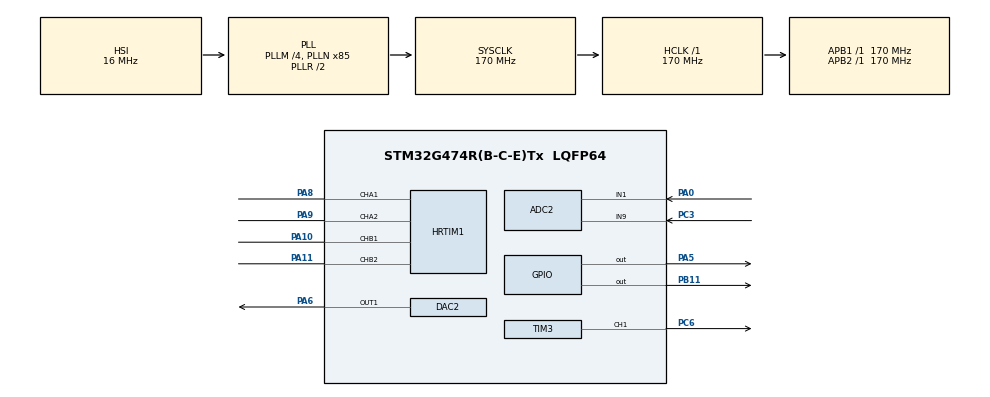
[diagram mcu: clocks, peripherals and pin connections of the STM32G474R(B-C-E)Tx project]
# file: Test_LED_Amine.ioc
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ADC2.Channel-3\#ChannelRegularConversion=ADC_CHANNEL_1
ADC2.ClockPrescaler=ADC_CLOCK_ASYNC_DIV4
ADC2.DMAContinuousRequests=ENABLE
ADC2.DiscontinuousConvMode=DISABLE
ADC2.EnableRegularConversion=ENABLE
ADC2.ExternalTrigConv=ADC_EXTERNALTRIG_HRTIM_TRG1
ADC2.ExternalTrigConvEdge=ADC_EXTERNALTRIGCONVEDGE_RISING
ADC2.NbrOfConversion=1
ADC2.NbrOfConversionFlag=1
ADC2.OffsetNumber-3\#ChannelRegularConversion=ADC_OFFSET_NONE
ADC2.Rank-3\#ChannelRegularConversion=1
ADC2.SamplingTime-3\#ChannelRegularConversion=ADC_SAMPLETIME_24CYCLES_5
Dma.ADC2.0.Direction=DMA_PERIPH_TO_MEMORY
Dma.ADC2.0.EventEnable=DISABLE
Dma.ADC2.0.Instance=DMA2_Channel1
Dma.ADC2.0.MemDataAlignment=DMA_MDATAALIGN_HALFWORD
Dma.ADC2.0.MemInc=DMA_MINC_ENABLE
Dma.ADC2.0.Mode=DMA_CIRCULAR
Dma.ADC2.0.PeriphDataAlignment=DMA_PDATAALIGN_HALFWORD
Dma.ADC2.0.PeriphInc=DMA_PINC_DISABLE
Dma.ADC2.0.Polarity=HAL_DMAMUX_REQ_GEN_RISING
Dma.ADC2.0.Priority=DMA_PRIORITY_LOW
Dma.ADC2.0.RequestNumber=1
Dma.ADC2.0.SignalID=NONE
Dma.ADC2.0.SyncEnable=DISABLE
Dma.ADC2.0.SyncPolarity=HAL_DMAMUX_SYNC_NO_EVENT
Dma.ADC2.0.SyncRequestNumber=1
Dma.ADC2.0.SyncSignalID=NONE
Dma.Request0=ADC2
HRTIM1.ADCTrigger1_Source1=HRTIM_ADCTRIGGEREVENT13_MASTER_CMP3
HRTIM1.ADCTrigger_Id1=HRTIM_ADCTRIGGER_1
HRTIM1.ADCTrigger_Id2=__NULL
HRTIM1.ADCTrigger_Id3=__NULL
HRTIM1.CompareUnit1-MasterTimer=HRTIM_COMPAREUNIT_1
HRTIM1.CompareUnit1-Output_TA1TA2=HRTIM_COMPAREUNIT_1
HRTIM1.CompareUnit1-Output_TB1TB2=HRTIM_COMPAREUNIT_1
HRTIM1.CompareUnit2-MasterTimer=HRTIM_COMPAREUNIT_2
HRTIM1.CompareUnit3-MasterTimer=HRTIM_COMPAREUNIT_3
HRTIM1.CompareValue1-MasterTimer=1360
HRTIM1.CompareValue1-Output_TA1TA2=6800
HRTIM1.CompareValue1-Output_TB1TB2=6800
HRTIM1.CompareValue2-MasterTimer=6800
HRTIM1.CompareValue3-MasterTimer=3000
HRTIM1.DeadTimeInsertion-Output_TA1TA2=HRTIM_TIMDEADTIMEINSERTION_ENABLED
HRTIM1.DeadTimeInsertion-Output_TB1TB2=HRTIM_TIMDEADTIMEINSERTION_ENABLED
HRTIM1.Enable=HRTIM_BURSTMODECTL_DISABLED
HRTIM1.Event_EEV1=__NULL
HRTIM1.FallingValue-Output_TA1TA2=16
HRTIM1.FallingValue-Output_TB1TB2=16
HRTIM1.NumberADCTriggerSource1=1
HRTIM1.NumberResetSource1-Output_TA1TA2=1
HRTIM1.NumberResetSource1-Output_TB1TB2=1
HRTIM1.NumberResetTrigger-Output_TA1TA2=1
HRTIM1.NumberResetTrigger-Output_TB1TB2=1
HRTIM1.NumberSetSource1-Output_TA1TA2=1
HRTIM1.NumberSetSource1-Output_TB1TB2=1
HRTIM1.Periode_MASTER=13600
HRTIM1.Periode_TA=13600
HRTIM1.Periode_TB=13600
HRTIM1.PrescalerDead-Output_TA1TA2=HRTIM_TIMDEADTIME_PRESCALERRATIO_DIV1
HRTIM1.PrescalerDead-Output_TB1TB2=HRTIM_TIMDEADTIME_PRESCALERRATIO_DIV1
HRTIM1.PrescalerRatio_MASTER=HRTIM_PRESCALERRATIO_MUL16
HRTIM1.PrescalerRatio_TA=HRTIM_PRESCALERRATIO_MUL16
HRTIM1.PrescalerRatio_TB=HRTIM_PRESCALERRATIO_MUL16
HRTIM1.ResetOutput1_Source1-Output_TA1TA2=HRTIM_OUTPUTRESET_TIMCMP1
HRTIM1.ResetOutput1_Source1-Output_TB1TB2=HRTIM_OUTPUTRESET_TIMCMP1
HRTIM1.ResetTrigger1-Output_TA1TA2=HRTIM_TIMRESETTRIGGER_MASTER_PER
HRTIM1.ResetTrigger1-Output_TB1TB2=HRTIM_TIMRESETTRIGGER_MASTER_CMP2
HRTIM1.RisingValue-Output_TA1TA2=16
HRTIM1.RisingValue-Output_TB1TB2=16
HRTIM1.SetOutput1_Source1-Output_TA1TA2=HRTIM_OUTPUTSET_TIMPER
HRTIM1.SetOutput1_Source1-Output_TB1TB2=HRTIM_OUTPUTSET_TIMPER
HRTIM1.postscaler1=0
Mcu.Family=STM32G4
Mcu.Name=STM32G474R(B-C-E)Tx
Mcu.Package=LQFP64
NVIC.ADC1_2_IRQn=true\:0\:0\:false\:false\:true\:true\:true
NVIC.DMA2_Channel1_IRQn=true\:0\:0\:false\:false\:true\:false\:true
NVIC.PriorityGroup=NVIC_PRIORITYGROUP_4
NVIC.TIM1_UP_TIM16_IRQn=true\:0\:0\:false\:false\:true\:false\:true
NVIC.TIM3_IRQn=true\:0\:0\:false\:false\:true\:true\:true
NVIC.TimeBase=TIM1_UP_TIM16_IRQn
NVIC.TimeBaseIP=TIM1
PA0.Mode=IN1-Single-Ended
PA0.Signal=ADC2_IN1
PA10.Mode=Output_TB1TB2
PA10.Signal=HRTIM1_CHB1
PA11.Mode=Output_TB1TB2
PA11.Signal=HRTIM1_CHB2
PA13.GPIO_Label=T_SWDIO
PA13.Mode=Trace_Asynchronous_SW
PA13.Signal=SYS_JTMS-SWDIO
PA14.GPIO_Label=T_SWCLK
PA14.Mode=Trace_Asynchronous_SW
PA14.Signal=SYS_JTCK-SWCLK
PA5.Signal=GPIO_Output
PA6.Signal=COMP_DAC21_group
PA8.Mode=Output_TA1TA2
PA8.Signal=HRTIM1_CHA1
PA9.Mode=Output_TA1TA2
PA9.Signal=HRTIM1_CHA2
PB11.PinState=GPIO_PIN_SET
PB11.Signal=GPIO_Output
PB3.Mode=Trace_Asynchronous_SW
PB3.Signal=SYS_JTDO-SWO
PC3.Mode=IN9-Single-Ended
PC3.Signal=ADC2_IN9
PC6.Signal=S_TIM3_CH1
PF0-OSC_IN.Mode=HSE-External-Oscillator
PF0-OSC_IN.Signal=RCC_OSC_IN
PF1-OSC_OUT.Mode=HSE-External-Oscillator
PF1-OSC_OUT.Signal=RCC_OSC_OUT
ProjectManager.HeapSize=0x200
ProjectManager.StackSize=0x400
ProjectManager.TargetToolchain=STM32CubeIDE
RCC.ADC12Freq_Value=170000000
RCC.ADC345Freq_Value=170000000
RCC.AHBFreq_Value=170000000
RCC.APB1Freq_Value=170000000
RCC.APB1TimFreq_Value=170000000
RCC.APB2Freq_Value=170000000
RCC.APB2TimFreq_Value=170000000
RCC.CortexFreq_Value=170000000
RCC.EXTERNAL_CLOCK_VALUE=12288000
RCC.HCLKFreq_Value=170000000
RCC.HSE_VALUE=24000000
RCC.HSI48_VALUE=48000000
RCC.HSI_VALUE=16000000
RCC.LSE_VALUE=32768
RCC.PLLM=RCC_PLLM_DIV4
RCC.PLLN=85
RCC.RTCClockSelection=RCC_RTCCLKSOURCE_LSE
RCC.SYSCLKFreq_VALUE=170000000
RCC.SYSCLKSource=RCC_SYSCLKSOURCE_PLLCLK
RCC.USBFreq_Value=170000000
RCC.VCOOutputFreq_Value=340000000
SH.COMP_DAC21_group.0=DAC2_OUT1,DAC_OUT1
SH.S_TIM3_CH1.0=TIM3_CH1,PWM Generation1 CH1
TIM3.Channel-PWM\ Generation1\ CH1=TIM_CHANNEL_1
TIM3.PulseNoDither_1=17000
TIM3.TIM_MasterOutputTrigger=TIM_TRGO_ENABLE
VP_HRTIM1_VS_hrtimMasterTimerNoOutput.Mode=MasterTimer
VP_SYS_VS_DBSignals.Mode=DisableDeadBatterySignals
VP_SYS_VS_tim1.Mode=TIM1
VP_TIM3_VS_ClockSourceINT.Mode=Internal
VP_TIM3_VS_ClockSourceITR.Mode=TriggerSource_ITR0
VREF+.Mode=InternalMode
VREF+.Signal=VREFBUF_OUT
board=NUCLEO-G474RE

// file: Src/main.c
/* USER CODE BEGIN Header */
/**
  ******************************************************************************
  * @file           : main.c
  * @brief          : Main program body
  ******************************************************************************
  * @attention
  *
  * <h2><center>&copy; Copyright (c) 2021 STMicroelectronics.
  * All rights reserved.</center></h2>
  *
  * This software component is licensed by ST under BSD 3-Clause license,
  * the "License"; You may not use this file except in compliance with the
  * License. You may obtain a copy of the License at:
  *                        opensource.org/licenses/BSD-3-Clause
  *
  ******************************************************************************
  */
/* USER CODE END Header */
#include "main.h"

ADC_HandleTypeDef hadc2;
DMA_HandleTypeDef hdma_adc2;

DAC_HandleTypeDef hdac2;

HRTIM_HandleTypeDef hhrtim1;

TIM_HandleTypeDef htim3;

void SystemClock_Config(void);
static void MX_GPIO_Init(void);
static void MX_DMA_Init(void);
static void MX_HRTIM1_Init(void);
static void MX_ADC2_Init(void);
static void MX_TIM3_Init(void);
static void MX_DAC2_Init(void);

/* USER CODE BEGIN 0 */
#include <stdio.h>
#include "Test_LED_Amine.h"
#include "rtwtypes.h"

/* Flags for taskOverrun */
static boolean_T OverrunFlags[1] = { false, };

/* Number of auto reload timer rotation computed */
static volatile uint32_t autoReloadTimerLoopVal_S = 1;

/* Remaining number of auto reload timer rotation to do */
volatile uint32_t remainAutoReloadTimerLoopVal_S = 1;

/* USER CODE END 0 */

int main(void)
{

  /* MCU Configuration--------------------------------------------------------*/

  /* Reset of all peripherals, Initializes the Flash interface and the Systick. */
  HAL_Init();

  /* Configure the system clock */
  SystemClock_Config();

  /* Initialize all configured peripherals */
  MX_GPIO_Init();
  MX_DMA_Init();
  MX_HRTIM1_Init();
  MX_ADC2_Init();
  MX_TIM3_Init();
  MX_DAC2_Init();
  /* USER CODE BEGIN 2 */
  /* Use Systick arm timer and interrupt to tick step() functions of the Simulink model. */
  /* Fundamental sample time is set to: '1.0E-5' s */
  if (SysTick_Config((uint32_t)(SystemCoreClock/99999.999999999985))) {
    autoReloadTimerLoopVal_S = 1;
    do {
      autoReloadTimerLoopVal_S++;
    } while ((uint32_t)(SystemCoreClock/99999.999999999985)/
             autoReloadTimerLoopVal_S > SysTick_LOAD_RELOAD_Msk);

    SysTick_Config((uint32_t)(SystemCoreClock/99999.999999999985)/
                   autoReloadTimerLoopVal_S);
  }

  /* Set number of loop to do. */
  remainAutoReloadTimerLoopVal_S = autoReloadTimerLoopVal_S;

  {
    int i;
    for (i = 0; i < 1; i++) {
      OverrunFlags[i] = false;
    }
  }

  /* Initialize model */
  Test_LED_Amine_initialize();

  /* USER CODE END 2 */

  /* Infinite loop */
  /* USER CODE BEGIN WHILE */
  /* Infinite loop */
  /* Real time from systickHandler */
  while (1) {
    /*Process tasks every solver time*/
    if (remainAutoReloadTimerLoopVal_S == 0) {
      remainAutoReloadTimerLoopVal_S = autoReloadTimerLoopVal_S;

      /* Check base rate for overrun */
      if (OverrunFlags[0]) {
        rtmSetErrorStatus(Test_LED_Amine_M, "Overrun");
      }

      OverrunFlags[0] = true;

      /* Step the model for base rate */
      Test_LED_Amine_step();

      /* Get model outputs here */

      /* Indicate task for base rate complete */
      OverrunFlags[0] = false;
    }
  }

    /* USER CODE END WHILE */

}

void SystemClock_Config(void)
{
  RCC_OscInitTypeDef RCC_OscInitStruct = {0};
  RCC_ClkInitTypeDef RCC_ClkInitStruct = {0};
  RCC_PeriphCLKInitTypeDef PeriphClkInit = {0};

  /** Configure the main internal regulator output voltage
  */
  HAL_PWREx_ControlVoltageScaling(PWR_REGULATOR_VOLTAGE_SCALE1_BOOST);
  /** Initializes the RCC Oscillators according to the specified parameters
  * in the RCC_OscInitTypeDef structure.
  */
  RCC_OscInitStruct.OscillatorType = RCC_OSCILLATORTYPE_HSI;
  RCC_OscInitStruct.HSIState = RCC_HSI_ON;
  RCC_OscInitStruct.HSICalibrationValue = RCC_HSICALIBRATION_DEFAULT;
  RCC_OscInitStruct.PLL.PLLState = RCC_PLL_ON;
  RCC_OscInitStruct.PLL.PLLSource = RCC_PLLSOURCE_HSI;
  RCC_OscInitStruct.PLL.PLLM = RCC_PLLM_DIV4;
  RCC_OscInitStruct.PLL.PLLN = 85;
  RCC_OscInitStruct.PLL.PLLP = RCC_PLLP_DIV2;
  RCC_OscInitStruct.PLL.PLLQ = RCC_PLLQ_DIV2;
  RCC_OscInitStruct.PLL.PLLR = RCC_PLLR_DIV2;
  if (HAL_RCC_OscConfig(&RCC_OscInitStruct) != HAL_OK)
  {
    Error_Handler();
  }
  /** Initializes the CPU, AHB and APB buses clocks
  */
  RCC_ClkInitStruct.ClockType = RCC_CLOCKTYPE_HCLK|RCC_CLOCKTYPE_SYSCLK
                              |RCC_CLOCKTYPE_PCLK1|RCC_CLOCKTYPE_PCLK2;
  RCC_ClkInitStruct.SYSCLKSource = RCC_SYSCLKSOURCE_PLLCLK;
  RCC_ClkInitStruct.AHBCLKDivider = RCC_SYSCLK_DIV1;
  RCC_ClkInitStruct.APB1CLKDivider = RCC_HCLK_DIV1;
  RCC_ClkInitStruct.APB2CLKDivider = RCC_HCLK_DIV1;

  if (HAL_RCC_ClockConfig(&RCC_ClkInitStruct, FLASH_LATENCY_4) != HAL_OK)
  {
    Error_Handler();
  }
  /** Initializes the peripherals clocks
  */
  PeriphClkInit.PeriphClockSelection = RCC_PERIPHCLK_ADC12;
  PeriphClkInit.Adc12ClockSelection = RCC_ADC12CLKSOURCE_SYSCLK;
  if (HAL_RCCEx_PeriphCLKConfig(&PeriphClkInit) != HAL_OK)
  {
    Error_Handler();
  }
}

static void MX_ADC2_Init(void)
{

  ADC_ChannelConfTypeDef sConfig = {0};

  /** Common config
  */
  hadc2.Instance = ADC2;
  hadc2.Init.ClockPrescaler = ADC_CLOCK_ASYNC_DIV4;
  hadc2.Init.Resolution = ADC_RESOLUTION_12B;
  hadc2.Init.DataAlign = ADC_DATAALIGN_RIGHT;
  hadc2.Init.GainCompensation = 0;
  hadc2.Init.ScanConvMode = ADC_SCAN_DISABLE;
  hadc2.Init.EOCSelection = ADC_EOC_SINGLE_CONV;
  hadc2.Init.LowPowerAutoWait = DISABLE;
  hadc2.Init.ContinuousConvMode = DISABLE;
  hadc2.Init.NbrOfConversion = 1;
  hadc2.Init.DiscontinuousConvMode = DISABLE;
  hadc2.Init.ExternalTrigConv = ADC_EXTERNALTRIG_HRTIM_TRG1;
  hadc2.Init.ExternalTrigConvEdge = ADC_EXTERNALTRIGCONVEDGE_RISING;
  hadc2.Init.DMAContinuousRequests = ENABLE;
  hadc2.Init.Overrun = ADC_OVR_DATA_PRESERVED;
  hadc2.Init.OversamplingMode = DISABLE;
  if (HAL_ADC_Init(&hadc2) != HAL_OK)
  {
    Error_Handler();
  }
  /** Configure Regular Channel
  */
  sConfig.Channel = ADC_CHANNEL_1;
  sConfig.Rank = ADC_REGULAR_RANK_1;
  sConfig.SamplingTime = ADC_SAMPLETIME_24CYCLES_5;
  sConfig.SingleDiff = ADC_SINGLE_ENDED;
  sConfig.OffsetNumber = ADC_OFFSET_NONE;
  sConfig.Offset = 0;
  if (HAL_ADC_ConfigChannel(&hadc2, &sConfig) != HAL_OK)
  {
    Error_Handler();
  }

}

static void MX_DAC2_Init(void)
{

  DAC_ChannelConfTypeDef sConfig = {0};

  /** DAC Initialization
  */
  hdac2.Instance = DAC2;
  if (HAL_DAC_Init(&hdac2) != HAL_OK)
  {
    Error_Handler();
  }
  /** DAC channel OUT1 config
  */
  sConfig.DAC_HighFrequency = DAC_HIGH_FREQUENCY_INTERFACE_MODE_AUTOMATIC;
  sConfig.DAC_DMADoubleDataMode = DISABLE;
  sConfig.DAC_SignedFormat = DISABLE;
  sConfig.DAC_SampleAndHold = DAC_SAMPLEANDHOLD_DISABLE;
  sConfig.DAC_Trigger = DAC_TRIGGER_NONE;
  sConfig.DAC_Trigger2 = DAC_TRIGGER_NONE;
  sConfig.DAC_OutputBuffer = DAC_OUTPUTBUFFER_ENABLE;
  sConfig.DAC_ConnectOnChipPeripheral = DAC_CHIPCONNECT_EXTERNAL;
  sConfig.DAC_UserTrimming = DAC_TRIMMING_FACTORY;
  if (HAL_DAC_ConfigChannel(&hdac2, &sConfig, DAC_CHANNEL_1) != HAL_OK)
  {
    Error_Handler();
  }

}

static void MX_HRTIM1_Init(void)
{

  HRTIM_ADCTriggerCfgTypeDef pADCTriggerCfg = {0};
  HRTIM_TimeBaseCfgTypeDef pTimeBaseCfg = {0};
  HRTIM_TimerCfgTypeDef pTimerCfg = {0};
  HRTIM_CompareCfgTypeDef pCompareCfg = {0};
  HRTIM_TimerCtlTypeDef pTimerCtl = {0};
  HRTIM_DeadTimeCfgTypeDef pDeadTimeCfg = {0};
  HRTIM_OutputCfgTypeDef pOutputCfg = {0};

  hhrtim1.Instance = HRTIM1;
  hhrtim1.Init.HRTIMInterruptResquests = HRTIM_IT_NONE;
  hhrtim1.Init.SyncOptions = HRTIM_SYNCOPTION_NONE;
  if (HAL_HRTIM_Init(&hhrtim1) != HAL_OK)
  {
    Error_Handler();
  }
  if (HAL_HRTIM_DLLCalibrationStart(&hhrtim1, HRTIM_CALIBRATIONRATE_3) != HAL_OK)
  {
    Error_Handler();
  }
  if (HAL_HRTIM_PollForDLLCalibration(&hhrtim1, 10) != HAL_OK)
  {
    Error_Handler();
  }
  pADCTriggerCfg.UpdateSource = HRTIM_ADCTRIGGERUPDATE_MASTER;
  pADCTriggerCfg.Trigger = HRTIM_ADCTRIGGEREVENT13_MASTER_CMP3;
  if (HAL_HRTIM_ADCTriggerConfig(&hhrtim1, HRTIM_ADCTRIGGER_1, &pADCTriggerCfg) != HAL_OK)
  {
    Error_Handler();
  }
  if (HAL_HRTIM_ADCPostScalerConfig(&hhrtim1, HRTIM_ADCTRIGGER_1, 0) != HAL_OK)
  {
    Error_Handler();
  }
  pTimeBaseCfg.Period = 13600;
  pTimeBaseCfg.RepetitionCounter = 0x00;
  pTimeBaseCfg.PrescalerRatio = HRTIM_PRESCALERRATIO_MUL16;
  pTimeBaseCfg.Mode = HRTIM_MODE_CONTINUOUS;
  if (HAL_HRTIM_TimeBaseConfig(&hhrtim1, HRTIM_TIMERINDEX_MASTER, &pTimeBaseCfg) != HAL_OK)
  {
    Error_Handler();
  }
  pTimerCfg.InterruptRequests = HRTIM_MASTER_IT_NONE;
  pTimerCfg.DMARequests = HRTIM_MASTER_DMA_NONE;
  pTimerCfg.DMASrcAddress = 0x0000;
  pTimerCfg.DMADstAddress = 0x0000;
  pTimerCfg.DMASize = 0x1;
  pTimerCfg.HalfModeEnable = HRTIM_HALFMODE_DISABLED;
  pTimerCfg.InterleavedMode = HRTIM_INTERLEAVED_MODE_DISABLED;
  pTimerCfg.StartOnSync = HRTIM_SYNCSTART_DISABLED;
  pTimerCfg.ResetOnSync = HRTIM_SYNCRESET_DISABLED;
  pTimerCfg.DACSynchro = HRTIM_DACSYNC_NONE;
  pTimerCfg.PreloadEnable = HRTIM_PRELOAD_DISABLED;
  pTimerCfg.UpdateGating = HRTIM_UPDATEGATING_INDEPENDENT;
  pTimerCfg.BurstMode = HRTIM_TIMERBURSTMODE_MAINTAINCLOCK;
  pTimerCfg.RepetitionUpdate = HRTIM_UPDATEONREPETITION_DISABLED;
  pTimerCfg.ReSyncUpdate = HRTIM_TIMERESYNC_UPDATE_UNCONDITIONAL;
  if (HAL_HRTIM_WaveformTimerConfig(&hhrtim1, HRTIM_TIMERINDEX_MASTER, &pTimerCfg) != HAL_OK)
  {
    Error_Handler();
  }
  pCompareCfg.CompareValue = 1360;
  if (HAL_HRTIM_WaveformCompareConfig(&hhrtim1, HRTIM_TIMERINDEX_MASTER, HRTIM_COMPAREUNIT_1, &pCompareCfg) != HAL_OK)
  {
    Error_Handler();
  }
  pCompareCfg.CompareValue = 6800;
  if (HAL_HRTIM_WaveformCompareConfig(&hhrtim1, HRTIM_TIMERINDEX_MASTER, HRTIM_COMPAREUNIT_2, &pCompareCfg) != HAL_OK)
  {
    Error_Handler();
  }
  pCompareCfg.CompareValue = 3000;
  if (HAL_HRTIM_WaveformCompareConfig(&hhrtim1, HRTIM_TIMERINDEX_MASTER, HRTIM_COMPAREUNIT_3, &pCompareCfg) != HAL_OK)
  {
    Error_Handler();
  }
  if (HAL_HRTIM_TimeBaseConfig(&hhrtim1, HRTIM_TIMERINDEX_TIMER_A, &pTimeBaseCfg) != HAL_OK)
  {
    Error_Handler();
  }
  pTimerCtl.UpDownMode = HRTIM_TIMERUPDOWNMODE_UP;
  pTimerCtl.GreaterCMP1 = HRTIM_TIMERGTCMP1_EQUAL;
  pTimerCtl.DualChannelDacEnable = HRTIM_TIMER_DCDE_DISABLED;
  if (HAL_HRTIM_WaveformTimerControl(&hhrtim1, HRTIM_TIMERINDEX_TIMER_A, &pTimerCtl) != HAL_OK)
  {
    Error_Handler();
  }
  pTimerCfg.InterruptRequests = HRTIM_TIM_IT_NONE;
  pTimerCfg.DMARequests = HRTIM_TIM_DMA_NONE;
  pTimerCfg.PushPull = HRTIM_TIMPUSHPULLMODE_DISABLED;
  pTimerCfg.FaultEnable = HRTIM_TIMFAULTENABLE_NONE;
  pTimerCfg.FaultLock = HRTIM_TIMFAULTLOCK_READWRITE;
  pTimerCfg.DeadTimeInsertion = HRTIM_TIMDEADTIMEINSERTION_ENABLED;
  pTimerCfg.DelayedProtectionMode = HRTIM_TIMER_A_B_C_DELAYEDPROTECTION_DISABLED;
  pTimerCfg.UpdateTrigger = HRTIM_TIMUPDATETRIGGER_NONE;
  pTimerCfg.ResetTrigger = HRTIM_TIMRESETTRIGGER_MASTER_PER;
  pTimerCfg.ResetUpdate = HRTIM_TIMUPDATEONRESET_DISABLED;
  if (HAL_HRTIM_WaveformTimerConfig(&hhrtim1, HRTIM_TIMERINDEX_TIMER_A, &pTimerCfg) != HAL_OK)
  {
    Error_Handler();
  }
  pTimerCfg.ResetTrigger = HRTIM_TIMRESETTRIGGER_MASTER_CMP2;
  if (HAL_HRTIM_WaveformTimerConfig(&hhrtim1, HRTIM_TIMERINDEX_TIMER_B, &pTimerCfg) != HAL_OK)
  {
    Error_Handler();
  }
  pCompareCfg.CompareValue = 6800;
  if (HAL_HRTIM_WaveformCompareConfig(&hhrtim1, HRTIM_TIMERINDEX_TIMER_A, HRTIM_COMPAREUNIT_1, &pCompareCfg) != HAL_OK)
  {
    Error_Handler();
  }
  pDeadTimeCfg.Prescaler = HRTIM_TIMDEADTIME_PRESCALERRATIO_DIV1;
  pDeadTimeCfg.RisingValue = 16;
  pDeadTimeCfg.RisingSign = HRTIM_TIMDEADTIME_RISINGSIGN_POSITIVE;
  pDeadTimeCfg.RisingLock = HRTIM_TIMDEADTIME_RISINGLOCK_WRITE;
  pDeadTimeCfg.RisingSignLock = HRTIM_TIMDEADTIME_RISINGSIGNLOCK_WRITE;
  pDeadTimeCfg.FallingValue = 16;
  pDeadTimeCfg.FallingSign = HRTIM_TIMDEADTIME_FALLINGSIGN_POSITIVE;
  pDeadTimeCfg.FallingLock = HRTIM_TIMDEADTIME_FALLINGLOCK_WRITE;
  pDeadTimeCfg.FallingSignLock = HRTIM_TIMDEADTIME_FALLINGSIGNLOCK_WRITE;
  if (HAL_HRTIM_DeadTimeConfig(&hhrtim1, HRTIM_TIMERINDEX_TIMER_A, &pDeadTimeCfg) != HAL_OK)
  {
    Error_Handler();
  }
  if (HAL_HRTIM_DeadTimeConfig(&hhrtim1, HRTIM_TIMERINDEX_TIMER_B, &pDeadTimeCfg) != HAL_OK)
  {
    Error_Handler();
  }
  pOutputCfg.Polarity = HRTIM_OUTPUTPOLARITY_HIGH;
  pOutputCfg.SetSource = HRTIM_OUTPUTSET_TIMPER;
  pOutputCfg.ResetSource = HRTIM_OUTPUTRESET_TIMCMP1;
  pOutputCfg.IdleMode = HRTIM_OUTPUTIDLEMODE_NONE;
  pOutputCfg.IdleLevel = HRTIM_OUTPUTIDLELEVEL_INACTIVE;
  pOutputCfg.FaultLevel = HRTIM_OUTPUTFAULTLEVEL_NONE;
  pOutputCfg.ChopperModeEnable = HRTIM_OUTPUTCHOPPERMODE_DISABLED;
  pOutputCfg.BurstModeEntryDelayed = HRTIM_OUTPUTBURSTMODEENTRY_REGULAR;
  if (HAL_HRTIM_WaveformOutputConfig(&hhrtim1, HRTIM_TIMERINDEX_TIMER_A, HRTIM_OUTPUT_TA1, &pOutputCfg) != HAL_OK)
  {
    Error_Handler();
  }
  if (HAL_HRTIM_WaveformOutputConfig(&hhrtim1, HRTIM_TIMERINDEX_TIMER_B, HRTIM_OUTPUT_TB1, &pOutputCfg) != HAL_OK)
  {
    Error_Handler();
  }
  pOutputCfg.SetSource = HRTIM_OUTPUTSET_NONE;
  pOutputCfg.ResetSource = HRTIM_OUTPUTRESET_NONE;
  if (HAL_HRTIM_WaveformOutputConfig(&hhrtim1, HRTIM_TIMERINDEX_TIMER_A, HRTIM_OUTPUT_TA2, &pOutputCfg) != HAL_OK)
  {
    Error_Handler();
  }
  if (HAL_HRTIM_WaveformOutputConfig(&hhrtim1, HRTIM_TIMERINDEX_TIMER_B, HRTIM_OUTPUT_TB2, &pOutputCfg) != HAL_OK)
  {
    Error_Handler();
  }
  if (HAL_HRTIM_TimeBaseConfig(&hhrtim1, HRTIM_TIMERINDEX_TIMER_B, &pTimeBaseCfg) != HAL_OK)
  {
    Error_Handler();
  }
  if (HAL_HRTIM_WaveformTimerControl(&hhrtim1, HRTIM_TIMERINDEX_TIMER_B, &pTimerCtl) != HAL_OK)
  {
    Error_Handler();
  }
  if (HAL_HRTIM_WaveformCompareConfig(&hhrtim1, HRTIM_TIMERINDEX_TIMER_B, HRTIM_COMPAREUNIT_1, &pCompareCfg) != HAL_OK)
  {
    Error_Handler();
  }
  HAL_HRTIM_MspPostInit(&hhrtim1);

}

static void MX_TIM3_Init(void)
{

  TIM_ClockConfigTypeDef sClockSourceConfig = {0};
  TIM_SlaveConfigTypeDef sSlaveConfig = {0};
  TIM_MasterConfigTypeDef sMasterConfig = {0};
  TIM_OC_InitTypeDef sConfigOC = {0};

  htim3.Instance = TIM3;
  htim3.Init.Prescaler = 0;
  htim3.Init.CounterMode = TIM_COUNTERMODE_UP;
  htim3.Init.Period = 65535;
  htim3.Init.ClockDivision = TIM_CLOCKDIVISION_DIV1;
  htim3.Init.AutoReloadPreload = TIM_AUTORELOAD_PRELOAD_DISABLE;
  if (HAL_TIM_Base_Init(&htim3) != HAL_OK)
  {
    Error_Handler();
  }
  sClockSourceConfig.ClockSource = TIM_CLOCKSOURCE_INTERNAL;
  if (HAL_TIM_ConfigClockSource(&htim3, &sClockSourceConfig) != HAL_OK)
  {
    Error_Handler();
  }
  if (HAL_TIM_PWM_Init(&htim3) != HAL_OK)
  {
    Error_Handler();
  }
  sSlaveConfig.SlaveMode = TIM_SLAVEMODE_DISABLE;
  sSlaveConfig.InputTrigger = TIM_TS_ITR0;
  if (HAL_TIM_SlaveConfigSynchro(&htim3, &sSlaveConfig) != HAL_OK)
  {
    Error_Handler();
  }
  sMasterConfig.MasterOutputTrigger = TIM_TRGO_ENABLE;
  sMasterConfig.MasterSlaveMode = TIM_MASTERSLAVEMODE_DISABLE;
  if (HAL_TIMEx_MasterConfigSynchronization(&htim3, &sMasterConfig) != HAL_OK)
  {
    Error_Handler();
  }
  sConfigOC.OCMode = TIM_OCMODE_PWM1;
  sConfigOC.Pulse = 17000;
  sConfigOC.OCPolarity = TIM_OCPOLARITY_HIGH;
  sConfigOC.OCFastMode = TIM_OCFAST_DISABLE;
  if (HAL_TIM_PWM_ConfigChannel(&htim3, &sConfigOC, TIM_CHANNEL_1) != HAL_OK)
  {
    Error_Handler();
  }
  HAL_TIM_MspPostInit(&htim3);

}

static void MX_DMA_Init(void)
{

  /* DMA controller clock enable */
  __HAL_RCC_DMAMUX1_CLK_ENABLE();
  __HAL_RCC_DMA2_CLK_ENABLE();

  /* DMA interrupt init */
  /* DMA2_Channel1_IRQn interrupt configuration */
  HAL_NVIC_SetPriority(DMA2_Channel1_IRQn, 0, 0);
  HAL_NVIC_EnableIRQ(DMA2_Channel1_IRQn);

}

static void MX_GPIO_Init(void)
{
  GPIO_InitTypeDef GPIO_InitStruct = {0};

  /* GPIO Ports Clock Enable */
  __HAL_RCC_GPIOF_CLK_ENABLE();
  __HAL_RCC_GPIOC_CLK_ENABLE();
  __HAL_RCC_GPIOA_CLK_ENABLE();
  __HAL_RCC_GPIOB_CLK_ENABLE();

  /*Configure GPIO pin Output Level */
  HAL_GPIO_WritePin(GPIOA, GPIO_PIN_5, GPIO_PIN_RESET);

  /*Configure GPIO pin Output Level */
  HAL_GPIO_WritePin(GPIOB, GPIO_PIN_11, GPIO_PIN_SET);

  /*Configure GPIO pin : PA5 */
  GPIO_InitStruct.Pin = GPIO_PIN_5;
  GPIO_InitStruct.Mode = GPIO_MODE_OUTPUT_PP;
  GPIO_InitStruct.Pull = GPIO_NOPULL;
  GPIO_InitStruct.Speed = GPIO_SPEED_FREQ_LOW;
  HAL_GPIO_Init(GPIOA, &GPIO_InitStruct);

  /*Configure GPIO pin : PB11 */
  GPIO_InitStruct.Pin = GPIO_PIN_11;
  GPIO_InitStruct.Mode = GPIO_MODE_OUTPUT_PP;
  GPIO_InitStruct.Pull = GPIO_NOPULL;
  GPIO_InitStruct.Speed = GPIO_SPEED_FREQ_LOW;
  HAL_GPIO_Init(GPIOB, &GPIO_InitStruct);

}

 /**
  * @brief  Period elapsed callback in non blocking mode
  * @note   This function is called  when TIM1 interrupt took place, inside
  * HAL_TIM_IRQHandler(). It makes a direct call to HAL_IncTick() to increment
  * a global variable "uwTick" used as application time base.
  * @param  htim : TIM handle
  * @retval None
  */
void HAL_TIM_PeriodElapsedCallback(TIM_HandleTypeDef *htim)
{
  /* USER CODE BEGIN Callback 0 */
  {
    extern void TIM_PeriodElapsedCustomCallback(TIM_HandleTypeDef *htim);

    /* Handle this event from model side. */
    TIM_PeriodElapsedCustomCallback(htim);
  }

  /* USER CODE END Callback 0 */
  if (htim->Instance == TIM1) {
    HAL_IncTick();
  }
}

void Error_Handler(void)
{
  __disable_irq();
  while (1)
  {
  }
}

/************************ (C) COPYRIGHT STMicroelectronics *****END OF FILE****/
